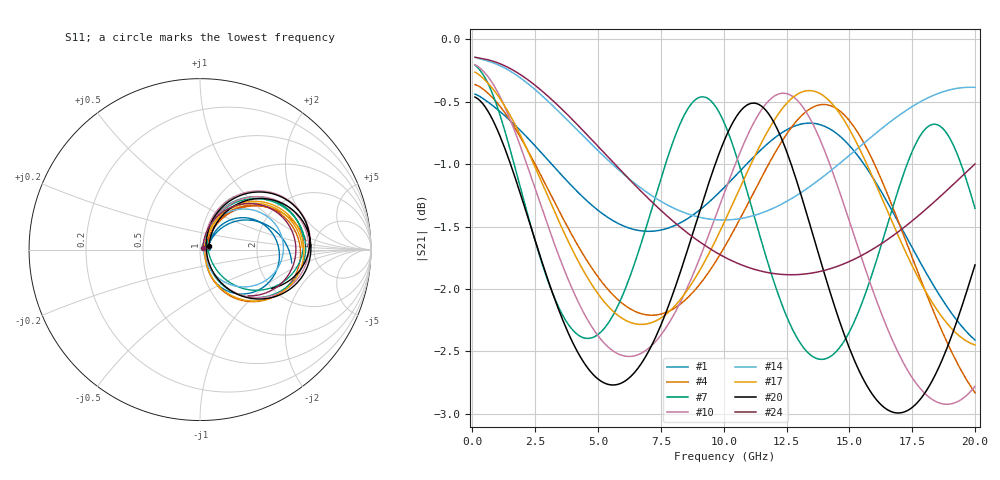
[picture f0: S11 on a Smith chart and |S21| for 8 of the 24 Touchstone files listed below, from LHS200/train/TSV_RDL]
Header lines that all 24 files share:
! Touchstone file exported from HFSS 2026.1.0
!  Design:  TSV_RDL
! Variables:
! Terminal data exported
# GHz S MA R 50.000000
Fixed: h_ox = 20um, h_rdl = 5um, h_via = 3um, m_sub = 200um, s_tmrdl = 10um, w_sub = 500um
Also varied, not listed: x_tsv_center2, x_tsv_center3, x_tsv_center4, x_tsv_center5, x_tsv_center6
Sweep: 100 MHz to 20 GHz
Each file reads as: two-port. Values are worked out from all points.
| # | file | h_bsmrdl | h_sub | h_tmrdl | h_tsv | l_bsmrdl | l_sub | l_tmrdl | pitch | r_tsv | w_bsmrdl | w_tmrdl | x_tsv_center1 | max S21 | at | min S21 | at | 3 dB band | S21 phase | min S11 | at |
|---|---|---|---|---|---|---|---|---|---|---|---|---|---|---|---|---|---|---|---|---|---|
| 1 | dut100.s2p | 2.17um | 54.24um | 2.57um | 54.24um | 956.08um | 4274.34um | 222.65um | 32.61um | 12.34um | 10.02um | 28.48um | 236.89um | -0.44 dB | 100 MHz | -2.4 dB | 20 GHz | 100 MHz-20 GHz | -133 deg at 10.1 GHz | -27.7 dB | 13.8 GHz |
| 2 | dut101.s2p | 2.27um | 92.51um | 5.96um | 92.51um | 218.73um | 4880.68um | 937.74um | 58.43um | 13.99um | 13.21um | 11.3um | 943.39um | -0.25 dB | 100 MHz | -2.9 dB | 17 GHz | 100 MHz-20 GHz | -150 deg at 10.1 GHz | -29.3 dB | 11.3 GHz |
| 3 | dut103.s2p | 3.23um | 89.23um | 4.69um | 89.23um | 704.51um | 3194.52um | 126.71um | 52.87um | 2.7um | 28.29um | 29.76um | 141.59um | -0.17 dB | 100 MHz | -1.6 dB | 9 GHz | 100 MHz-20 GHz | -99 deg at 10.1 GHz | -32.9 dB | 100 MHz |
| 4 | dut104.s2p | 2.32um | 69.48um | 5.73um | 69.48um | 980.11um | 4092.49um | 157.44um | 46.27um | 14.49um | 11um | 29.8um | 172.34um | -0.36 dB | 100 MHz | -2.8 dB | 20 GHz | 100 MHz-20 GHz | -124 deg at 10.1 GHz | -28.7 dB | 14.2 GHz |
| 5 | dut106.s2p | 2.65um | 96.09um | 2.32um | 96.09um | 141.81um | 4916.39um | 981.85um | 54.86um | 6.09um | 27.66um | 26.86um | 995.28um | -0.24 dB | 100 MHz | -1.9 dB | 17.7 GHz | 100 MHz-20 GHz | -148 deg at 10.1 GHz | -33.0 dB | 11.8 GHz |
| 6 | dut107.s2p | 5.56um | 75.25um | 2.05um | 75.25um | 887.9um | 5700.66um | 643.1um | 32.08um | 3.79um | 10.87um | 10.65um | 648.425um | -0.52 dB | 100 MHz | -2.6 dB | 15.9 GHz | 100 MHz-20 GHz | -167 deg at 10.1 GHz | -27.0 dB | 10.6 GHz |
| 7 | dut108.s2p | 5.5um | 59.42um | 5.86um | 59.42um | 961.41um | 6771.89um | 843.49um | 56.23um | 7.75um | 23.63um | 14.27um | 850.625um | -0.21 dB | 100 MHz | -2.6 dB | 13.9 GHz | 100 MHz-20 GHz | 164 deg at 10.1 GHz | -29.3 dB | 9.2 GHz |
| 8 | dut109.s2p | 5.9um | 99.59um | 5.71um | 99.59um | 631.66um | 5138.68um | 680.1um | 56.4um | 3.56um | 29.31um | 11.79um | 685.995um | -0.22 dB | 100 MHz | -2.5 dB | 16.4 GHz | 100 MHz-20 GHz | -157 deg at 10.1 GHz | -29.8 dB | 10.9 GHz |
| 9 | dut111.s2p | 2.36um | 86.45um | 2.5um | 86.45um | 200.94um | 4872.58um | 949.68um | 57.59um | 13.53um | 13.41um | 10.27um | 954.815um | -0.51 dB | 100 MHz | -3.5 dB | 16.8 GHz | 100 MHz-16.3 GHz | -152 deg at 10.1 GHz | -27.6 dB | 11.1 GHz |
| 10 | dut114.s2p | 5.93um | 53.67um | 4.33um | 53.67um | 118.32um | 4867.51um | 994.68um | 57.35um | 13.95um | 29.88um | 14.73um | 1002.045um | -0.20 dB | 100 MHz | -2.9 dB | 18.9 GHz | 100 MHz-20 GHz | -133 deg at 10.1 GHz | -30.2 dB | 12.5 GHz |
| 11 | dut115.s2p | 3.37um | 89.37um | 2um | 89.37um | 685.5um | 6513.5um | 983.83um | 58.28um | 2.7um | 14.85um | 25.71um | 996.685um | -0.44 dB | 100 MHz | -2.8 dB | 14.1 GHz | 100 MHz-20 GHz | 161 deg at 10.1 GHz | -28.8 dB | 9.4 GHz |
| 12 | dut116.s2p | 5.41um | 99.97um | 2.97um | 99.97um | 266.93um | 2065.49um | 186.1um | 56.78um | 14.01um | 28.61um | 11.49um | 191.845um | -0.10 dB | 100 MHz | -1.1 dB | 11.1 GHz | 100 MHz-20 GHz | -75 deg at 10.1 GHz | -37.6 dB | 100 MHz |
| 13 | dut118.s2p | 3.1um | 62.19um | 5.18um | 62.19um | 682.75um | 6197.46um | 907.19um | 58.78um | 14.42um | 11.51um | 28.64um | 921.51um | -0.26 dB | 100 MHz | -2.4 dB | 15.5 GHz | 100 MHz-20 GHz | -179 deg at 10.1 GHz | -30.4 dB | 10.3 GHz |
| 14 | dut119.s2p | 5.47um | 50.59um | 5.04um | 50.59um | 521.35um | 3051.59um | 238.51um | 45.77um | 2.19um | 28.23um | 16.27um | 246.645um | -0.15 dB | 100 MHz | -1.4 dB | 10 GHz | 100 MHz-20 GHz | -87 deg at 10.1 GHz | -34.3 dB | 100 MHz |
| 15 | dut121.s2p | 5.14um | 58.69um | 2.05um | 58.69um | 913.52um | 3815.46um | 139.04um | 33.37um | 2.69um | 10.5um | 29.08um | 153.58um | -0.25 dB | 100 MHz | -1.9 dB | 8.3 GHz | 100 MHz-20 GHz | -110 deg at 10.1 GHz | -30.2 dB | 100 MHz |
| 16 | dut122.s2p | 2.22um | 98.96um | 2.85um | 98.96um | 143.88um | 4232.31um | 820.07um | 47.97um | 12.54um | 29.99um | 10.14um | 825.14um | -0.37 dB | 100 MHz | -2.7 dB | 17.7 GHz | 100 MHz-20 GHz | -140 deg at 10.1 GHz | -29.5 dB | 11.6 GHz |
| 17 | dut123.s2p | 2.35um | 50.21um | 3.18um | 50.21um | 991.29um | 4802.52um | 318.47um | 56.3um | 2.66um | 23.56um | 28.03um | 332.485um | -0.26 dB | 100 MHz | -2.4 dB | 20 GHz | 100 MHz-20 GHz | -128 deg at 10.1 GHz | -30.7 dB | 13.5 GHz |
| 18 | dut124.s2p | 2.4um | 97.41um | 5.63um | 97.41um | 741.3um | 3502.07um | 192.28um | 50.93um | 2.92um | 19.25um | 17.1um | 200.83um | -0.25 dB | 100 MHz | -2.5 dB | 8.1 GHz | 100 MHz-20 GHz | -106 deg at 10.1 GHz | -30.3 dB | 16.4 GHz |
| 19 | dut127.s2p | 5.65um | 98.08um | 2.71um | 98.08um | 168.69um | 4045.3um | 757.83um | 55.81um | 14.96um | 10.1um | 25.87um | 770.765um | -0.17 dB | 100 MHz | -1.7 dB | 19.8 GHz | 100 MHz-20 GHz | -128 deg at 10.1 GHz | -34.6 dB | 13.1 GHz |
| 20 | dut129.s2p | 5.66um | 95.78um | 2.05um | 95.78um | 433.44um | 4930.15um | 775.41um | 55.62um | 2.34um | 28.83um | 13.9um | 782.36um | -0.46 dB | 100 MHz | -3.0 dB | 16.9 GHz | 100 MHz-20 GHz | -151 deg at 10.1 GHz | -28.7 dB | 11.3 GHz |
| 21 | dut130.s2p | 3.24um | 52.27um | 2.61um | 52.27um | 961.91um | 7333.42um | 981.21um | 41.85um | 7um | 11.68um | 29.27um | 995.845um | -0.40 dB | 100 MHz | -2.2 dB | 13.8 GHz | 100 MHz-20 GHz | 145 deg at 10.1 GHz | -28.4 dB | 9 GHz |
| 22 | dut132.s2p | 2.15um | 98.28um | 3.7um | 98.28um | 891.17um | 7006.31um | 967.66um | 36.94um | 3.93um | 10.04um | 10.68um | 973um | -0.69 dB | 100 MHz | -3.1 dB | 12.9 GHz | 100 MHz-20 GHz | 141 deg at 10.1 GHz | -25.3 dB | 8.5 GHz |
| 23 | dut138.s2p | 3.12um | 56.8um | 5.64um | 56.8um | 138.7um | 4388.26um | 871.23um | 46.88um | 13.11um | 10.88um | 18.2um | 880.33um | -0.15 dB | 100 MHz | -1.9 dB | 20 GHz | 100 MHz-20 GHz | -123 deg at 10.1 GHz | -32.6 dB | 100 MHz |
| 24 | dut139.s2p | 5.44um | 96.77um | 5.49um | 96.77um | 305.26um | 2092.06um | 154.86um | 55.73um | 2.41um | 28.22um | 24.06um | 166.89um | -0.15 dB | 100 MHz | -1.9 dB | 12.7 GHz | 100 MHz-20 GHz | -74 deg at 10.1 GHz | -34.5 dB | 100 MHz |
